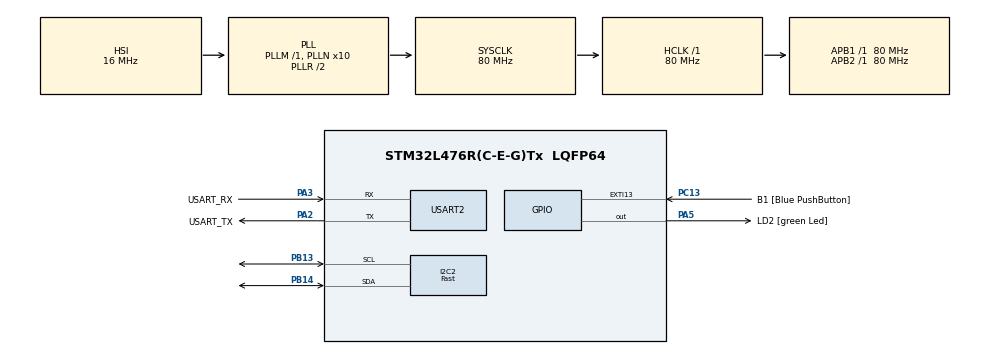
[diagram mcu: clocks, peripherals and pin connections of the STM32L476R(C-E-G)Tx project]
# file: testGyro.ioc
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I2C2.I2C_Speed_Mode=I2C_Fast
I2C2.Timing=0x00F12981
Mcu.Family=STM32L4
Mcu.Name=STM32L476R(C-E-G)Tx
Mcu.Package=LQFP64
NVIC.PriorityGroup=NVIC_PRIORITYGROUP_4
PA13\ (JTMS-SWDIO).GPIO_Label=TMS
PA13\ (JTMS-SWDIO).Mode=Serial_Wire
PA13\ (JTMS-SWDIO).Signal=SYS_JTMS-SWDIO
PA14\ (JTCK-SWCLK).GPIO_Label=TCK
PA14\ (JTCK-SWCLK).Mode=Serial_Wire
PA14\ (JTCK-SWCLK).Signal=SYS_JTCK-SWCLK
PA2.GPIO_Label=USART_TX
PA2.GPIO_Mode=GPIO_MODE_AF_PP
PA2.GPIO_PuPd=GPIO_NOPULL
PA2.GPIO_Speed=GPIO_SPEED_FREQ_VERY_HIGH
PA2.Mode=Asynchronous
PA2.Signal=USART2_TX
PA3.GPIO_Label=USART_RX
PA3.GPIO_Mode=GPIO_MODE_AF_PP
PA3.GPIO_PuPd=GPIO_NOPULL
PA3.GPIO_Speed=GPIO_SPEED_FREQ_VERY_HIGH
PA3.Mode=Asynchronous
PA3.Signal=USART2_RX
PA5.GPIO_Label=LD2 [green Led]
PA5.GPIO_ModeDefaultOutputPP=GPIO_MODE_OUTPUT_PP
PA5.GPIO_PuPd=GPIO_NOPULL
PA5.GPIO_Speed=GPIO_SPEED_FREQ_LOW
PA5.Signal=GPIO_Output
PB13.Mode=I2C
PB13.Signal=I2C2_SCL
PB14.Mode=I2C
PB14.Signal=I2C2_SDA
PB3\ (JTDO-TRACESWO).GPIO_Label=SWO
PB3\ (JTDO-TRACESWO).Signal=SYS_JTDO-SWO
PC13.GPIO_Label=B1 [Blue PushButton]
PC13.GPIO_ModeDefaultEXTI=GPIO_MODE_IT_FALLING
PC13.GPIO_PuPd=GPIO_NOPULL
PC13.Signal=GPXTI13
PC14-OSC32_IN\ (PC14).Mode=LSE-External-Oscillator
PC14-OSC32_IN\ (PC14).Signal=RCC_OSC32_IN
PC15-OSC32_OUT\ (PC15).Mode=LSE-External-Oscillator
PC15-OSC32_OUT\ (PC15).Signal=RCC_OSC32_OUT
PH0-OSC_IN\ (PH0).Mode=HSE-External-Oscillator
PH0-OSC_IN\ (PH0).Signal=RCC_OSC_IN
PH1-OSC_OUT\ (PH1).Mode=HSE-External-Oscillator
PH1-OSC_OUT\ (PH1).Signal=RCC_OSC_OUT
ProjectManager.HeapSize=0x200
ProjectManager.StackSize=0x400
ProjectManager.TargetToolchain=STM32CubeIDE
RCC.ADCFreq_Value=64000000
RCC.AHBFreq_Value=80000000
RCC.APB1Freq_Value=80000000
RCC.APB1TimFreq_Value=80000000
RCC.APB2Freq_Value=80000000
RCC.APB2TimFreq_Value=80000000
RCC.CortexFreq_Value=80000000
RCC.HCLKFreq_Value=80000000
RCC.HSE_VALUE=8000000
RCC.HSI_VALUE=16000000
RCC.MSI_VALUE=4000000
RCC.PLLN=10
RCC.PLLSourceVirtual=RCC_PLLSOURCE_HSI
RCC.PREFETCH_ENABLE=1
RCC.SYSCLKFreq_VALUE=80000000
RCC.SYSCLKSource=RCC_SYSCLKSOURCE_PLLCLK
RCC.USBFreq_Value=64000000
RCC.VCOOutputFreq_Value=160000000
STMicroelectronics.X-CUBE-MEMS1.11.0.0.SensorsJjSTM32IiMotionACIiLibraryJjCore=true
STMicroelectronics.X-CUBE-MEMS1.11.0.0.SensorsJjSTM32IiMotionFXIiLibraryJjCore=true
STMicroelectronics.X-CUBE-MEMS1.11.0.0.SensorsJjSTM32IiMotionGCIiLibraryJjCore=true
USART2.VirtualMode-Asynchronous=VM_ASYNC
VP_STMicroelectronics.X-CUBE-MEMS1_VS_SensorsJjSTM32IiMotionACIiLibrary_2.6.2_11.0.0.Mode=SensorsJjSTM32IiMotionACIiLibrary
VP_STMicroelectronics.X-CUBE-MEMS1_VS_SensorsJjSTM32IiMotionFXIiLibrary_2.8.0_11.0.0.Mode=SensorsJjSTM32IiMotionFXIiLibrary
VP_STMicroelectronics.X-CUBE-MEMS1_VS_SensorsJjSTM32IiMotionGCIiLibrary_2.6.0_11.0.0.Mode=SensorsJjSTM32IiMotionGCIiLibrary
board=NUCLEO-L476RG

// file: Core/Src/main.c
/* USER CODE BEGIN Header */
/**
 ******************************************************************************
 * @file           : main.c
 * @brief          : Main program body
 ******************************************************************************
 * @attention
 *
 * Copyright (c) 2024 STMicroelectronics.
 * All rights reserved.
 *
 * This software is licensed under terms that can be found in the LICENSE file
 * in the root directory of this software component.
 * If no LICENSE file comes with this software, it is provided AS-IS.
 *
 ******************************************************************************
 */
/* USER CODE END Header */
#include "main.h"
#include "i2c.h"
#include "usart.h"
#include "gpio.h"

/* USER CODE BEGIN Includes */
#include <stdio.h>
#include <stdbool.h>
#include "MPU6050.h"
#include "motion_fx.h"
#include "motion_fx_cm0p.h"
#include "motion_gc.h"
/* USER CODE END Includes */

void SystemClock_Config(void);

/* USER CODE BEGIN 0 */
#define VERSION_STR_LENG 35
//float SAMPLE_FREQUENCY = 50.0f;
#define SAMPLE_FREQUENCY 50.0f
#define MFX_STR_LENG 35
#define STATE_SIZE (size_t)(2450)

char lib_version[VERSION_STR_LENG];
MGC_knobs_t knobs;
MGC_output_t start_gyro_bias;
float sample_freq;
//MGC_input_t data_in;
//MGC_output_t data_out;

int start = 0;
int bias_update;
float gyro_cal_x, gyro_cal_y, gyro_cal_z, corrX, corrY, corrZ;
float freq = (float) SAMPLE_FREQUENCY;
static uint8_t mfxstate[STATE_SIZE];
MFX_input_t data_in;
MFX_output_t data_out;
float dT;
float *q;
float CurrentTime, LastTime;
float accZ = 0;

/* USER CODE END 0 */

int main(void) {

	/* MCU Configuration--------------------------------------------------------*/

	/* Reset of all peripherals, Initializes the Flash interface and the Systick. */
	HAL_Init();

	/* Configure the system clock */
	SystemClock_Config();

	/* Initialize all configured peripherals */
	MX_GPIO_Init();
	MX_USART2_UART_Init();
	MX_I2C2_Init();

	/* USER CODE BEGIN 2 */

	MPU6050_Initialization();

	start++;
	//MotionGC_Initialize(MGC_MCU_STM32, &freq);
	MotionFX_enable_6X(mfxstate, MFX_ENGINE_ENABLE);
	start++;
	MotionFX_initialize((MFXState_t *)mfxstate);
	start++;

	/* USER CODE END 2 */

	/* Infinite loop */
	/* USER CODE BEGIN WHILE */
	while (1) {
		CurrentTime = HAL_GetTick();
		dT = CurrentTime - LastTime;
		LastTime = CurrentTime;

		start++;
		MPU6050_ProcessData(&MPU6050);

		data_in.gyro[0] = MPU6050.gyro_x;
		data_in.gyro[1] = MPU6050.gyro_y;
		data_in.gyro[2] = MPU6050.gyro_z;
		data_in.acc[0] = MPU6050.acc_x;
		data_in.acc[1] = MPU6050.acc_y;
		data_in.acc[2] = MPU6050.acc_z;
		/* Get acceleration X/Y/Z in g */
		//	MEMS_Read_AccValue(data_in.Acc[0], data_in.Acc[1], data_in.Acc[2]);
		//	/* Get angular rate X/Y/Z in dps */
		//	MEMS_Read_GyroValue(data_in.Gyro[0], data_in.Gyro[1], data_in.Gyro[2]);
		/* Gyroscope calibration algorithm update */
		//MotionGC_Update(&data_in, &data_out, &bias_update);
		MotionFX_propagate(mfxstate, &data_out, &data_in, &dT);
		MotionFX_update(mfxstate, &data_out, &data_in, &dT, NULL);
		/* Apply correction */
//		corrX = data_out.GyroBiasX;
//		corrY = data_out.GyroBiasY;
//		corrZ = data_out.GyroBiasZ;
//		gyro_cal_x = (data_in.Gyro[0] - data_out.GyroBiasX);
//		gyro_cal_y = (data_in.Gyro[1] - data_out.GyroBiasY);
//		gyro_cal_z = (data_in.Gyro[2] - data_out.GyroBiasZ);
		q = data_out.quaternion;

		/* USER CODE END WHILE */

	}
}

void SystemClock_Config(void) {
	RCC_OscInitTypeDef RCC_OscInitStruct = { 0 };
	RCC_ClkInitTypeDef RCC_ClkInitStruct = { 0 };

	/** Configure the main internal regulator output voltage
	 */
	if (HAL_PWREx_ControlVoltageScaling(PWR_REGULATOR_VOLTAGE_SCALE1)
			!= HAL_OK) {
		Error_Handler();
	}

	/** Initializes the RCC Oscillators according to the specified parameters
	 * in the RCC_OscInitTypeDef structure.
	 */
	RCC_OscInitStruct.OscillatorType = RCC_OSCILLATORTYPE_HSI;
	RCC_OscInitStruct.HSIState = RCC_HSI_ON;
	RCC_OscInitStruct.HSICalibrationValue = RCC_HSICALIBRATION_DEFAULT;
	RCC_OscInitStruct.PLL.PLLState = RCC_PLL_ON;
	RCC_OscInitStruct.PLL.PLLSource = RCC_PLLSOURCE_HSI;
	RCC_OscInitStruct.PLL.PLLM = 1;
	RCC_OscInitStruct.PLL.PLLN = 10;
	RCC_OscInitStruct.PLL.PLLP = RCC_PLLP_DIV7;
	RCC_OscInitStruct.PLL.PLLQ = RCC_PLLQ_DIV2;
	RCC_OscInitStruct.PLL.PLLR = RCC_PLLR_DIV2;
	if (HAL_RCC_OscConfig(&RCC_OscInitStruct) != HAL_OK) {
		Error_Handler();
	}

	/** Initializes the CPU, AHB and APB buses clocks
	 */
	RCC_ClkInitStruct.ClockType = RCC_CLOCKTYPE_HCLK | RCC_CLOCKTYPE_SYSCLK
			| RCC_CLOCKTYPE_PCLK1 | RCC_CLOCKTYPE_PCLK2;
	RCC_ClkInitStruct.SYSCLKSource = RCC_SYSCLKSOURCE_PLLCLK;
	RCC_ClkInitStruct.AHBCLKDivider = RCC_SYSCLK_DIV1;
	RCC_ClkInitStruct.APB1CLKDivider = RCC_HCLK_DIV1;
	RCC_ClkInitStruct.APB2CLKDivider = RCC_HCLK_DIV1;

	if (HAL_RCC_ClockConfig(&RCC_ClkInitStruct, FLASH_LATENCY_4) != HAL_OK) {
		Error_Handler();
	}
}

void Error_Handler(void) {
	__disable_irq();
	while (1) {
	}
}
